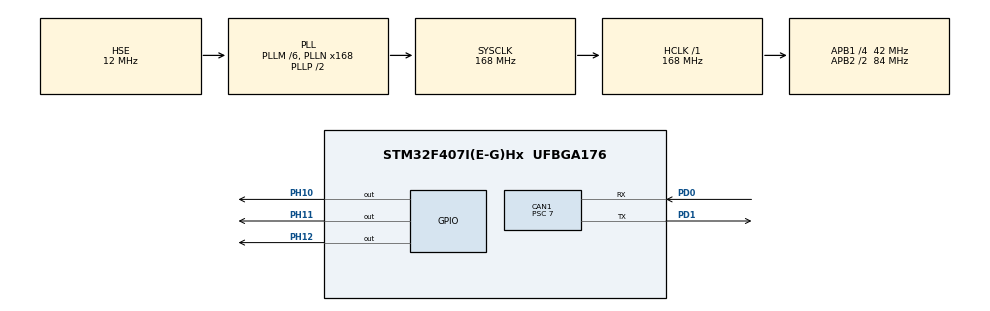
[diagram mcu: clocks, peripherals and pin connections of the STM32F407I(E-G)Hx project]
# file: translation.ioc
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CAN1.BS1=CAN_BS1_3TQ
CAN1.BS2=CAN_BS2_2TQ
CAN1.CalculateBaudRate=1000000
CAN1.CalculateTimeBit=999.99
CAN1.CalculateTimeQuantum=166.66666666666669
CAN1.Prescaler=7
Mcu.Family=STM32F4
Mcu.Name=STM32F407I(E-G)Hx
Mcu.Package=UFBGA176
NVIC.CAN1_RX0_IRQn=true\:0\:0\:false\:false\:true\:true\:true
NVIC.PriorityGroup=NVIC_PRIORITYGROUP_4
PA13.Mode=Serial_Wire
PA13.Signal=SYS_JTMS-SWDIO
PA14.Mode=Serial_Wire
PA14.Signal=SYS_JTCK-SWCLK
PC14-OSC32_IN.Mode=LSE-External-Oscillator
PC14-OSC32_IN.Signal=RCC_OSC32_IN
PC15-OSC32_OUT.Mode=LSE-External-Oscillator
PC15-OSC32_OUT.Signal=RCC_OSC32_OUT
PD0.Mode=CAN_Activate
PD0.Signal=CAN1_RX
PD1.Mode=CAN_Activate
PD1.Signal=CAN1_TX
PH0-OSC_IN.Mode=HSE-External-Oscillator
PH0-OSC_IN.Signal=RCC_OSC_IN
PH1-OSC_OUT.Mode=HSE-External-Oscillator
PH1-OSC_OUT.Signal=RCC_OSC_OUT
PH10.Signal=GPIO_Output
PH11.Signal=GPIO_Output
PH12.Signal=GPIO_Output
ProjectManager.HeapSize=0x200
ProjectManager.StackSize=0x400
ProjectManager.TargetToolchain=MDK-ARM V5.27
RCC.48MHZClocksFreq_Value=84000000
RCC.AHBFreq_Value=168000000
RCC.APB1CLKDivider=RCC_HCLK_DIV4
RCC.APB1Freq_Value=42000000
RCC.APB1TimFreq_Value=84000000
RCC.APB2CLKDivider=RCC_HCLK_DIV2
RCC.APB2Freq_Value=84000000
RCC.APB2TimFreq_Value=168000000
RCC.CortexFreq_Value=168000000
RCC.HCLKFreq_Value=168000000
RCC.HSE_VALUE=12000000
RCC.HSI_VALUE=16000000
RCC.PLLM=6
RCC.PLLN=168
RCC.PLLSourceVirtual=RCC_PLLSOURCE_HSE
RCC.SYSCLKFreq_VALUE=168000000
RCC.SYSCLKSource=RCC_SYSCLKSOURCE_PLLCLK
RCC.VCOOutputFreq_Value=336000000
board=custom

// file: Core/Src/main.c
/* USER CODE BEGIN Header */
/**
  ******************************************************************************
  * @file           : main.c
  * @brief          : Main program body
  ******************************************************************************
  * @attention
  *
  * <h2><center>&copy; Copyright (c) 2023 STMicroelectronics.
  * All rights reserved.</center></h2>
  *
  * This software component is licensed by ST under BSD 3-Clause license,
  * the "License"; You may not use this file except in compliance with the
  * License. You may obtain a copy of the License at:
  *                        opensource.org/licenses/BSD-3-Clause
  *
  ******************************************************************************
  */
/* USER CODE END Header */
#include "main.h"
#include "can.h"
#include "gpio.h"

/* USER CODE BEGIN Includes */
#include "bsp_can.h"
#include "pid.h"
/* USER CODE END Includes */

void SystemClock_Config(void);

/* USER CODE BEGIN 0 */

int16_t led_cnt;
int16_t text_speed = 0;
int16_t target_yaw_speed;
float target_yaw_angle = 1;
float now_yaw_angle;
extern moto_info_t motor_yaw_info;
extern pid_struct_t gimbal_yaw_speed_pid;
extern pid_struct_t gimbal_yaw_angle_pid;

double msp(double x, double in_min, double in_max, double out_min, double out_max)//映射函数，将编码器的值（0~8191）转换为弧度制的角度值（-pi~pi）
{
	return (x-in_min)*(out_max-out_min)/(in_max-in_min)+out_min;
}
/* USER CODE END 0 */

int main(void)
{

  /* MCU Configuration--------------------------------------------------------*/

  /* Reset of all peripherals, Initializes the Flash interface and the Systick. */
  HAL_Init();

  /* Configure the system clock */
  SystemClock_Config();

  /* Initialize all configured peripherals */
  MX_GPIO_Init();
  MX_CAN1_Init();
  /* USER CODE BEGIN 2 */
	can_filter_init();
	gimbal_PID_init();
  /* USER CODE END 2 */

  /* Infinite loop */
  /* USER CODE BEGIN WHILE */
  while (1)
  {
		led_cnt ++;
    if (led_cnt == 250)
    {
      led_cnt = 0;
      HAL_GPIO_TogglePin(GPIOH,GPIO_PIN_11); //blink cycle 500ms
    }

		now_yaw_angle=msp(motor_yaw_info.rotor_angle,0,8191,-pi,pi);//计算当前的编码器角度值，运用msp函数将编码器的值映射为弧度制

		pid_calc(&gimbal_yaw_angle_pid,target_yaw_angle, now_yaw_angle);//角度环
		pid_calc(&gimbal_yaw_speed_pid,gimbal_yaw_angle_pid.output, motor_yaw_info.rotor_speed);//速度环

		Set_Angle(&hcan1,gimbal_yaw_speed_pid.output );//can发送函数，发送经过PID计算的电压值

		HAL_Delay(40);
    /* USER CODE END WHILE */

  }
}

void SystemClock_Config(void)
{
  RCC_OscInitTypeDef RCC_OscInitStruct = {0};
  RCC_ClkInitTypeDef RCC_ClkInitStruct = {0};

  /** Configure the main internal regulator output voltage
  */
  __HAL_RCC_PWR_CLK_ENABLE();
  __HAL_PWR_VOLTAGESCALING_CONFIG(PWR_REGULATOR_VOLTAGE_SCALE1);
  /** Initializes the RCC Oscillators according to the specified parameters
  * in the RCC_OscInitTypeDef structure.
  */
  RCC_OscInitStruct.OscillatorType = RCC_OSCILLATORTYPE_HSE;
  RCC_OscInitStruct.HSEState = RCC_HSE_ON;
  RCC_OscInitStruct.PLL.PLLState = RCC_PLL_ON;
  RCC_OscInitStruct.PLL.PLLSource = RCC_PLLSOURCE_HSE;
  RCC_OscInitStruct.PLL.PLLM = 6;
  RCC_OscInitStruct.PLL.PLLN = 168;
  RCC_OscInitStruct.PLL.PLLP = RCC_PLLP_DIV2;
  RCC_OscInitStruct.PLL.PLLQ = 4;
  if (HAL_RCC_OscConfig(&RCC_OscInitStruct) != HAL_OK)
  {
    Error_Handler();
  }
  /** Initializes the CPU, AHB and APB buses clocks
  */
  RCC_ClkInitStruct.ClockType = RCC_CLOCKTYPE_HCLK|RCC_CLOCKTYPE_SYSCLK
                              |RCC_CLOCKTYPE_PCLK1|RCC_CLOCKTYPE_PCLK2;
  RCC_ClkInitStruct.SYSCLKSource = RCC_SYSCLKSOURCE_PLLCLK;
  RCC_ClkInitStruct.AHBCLKDivider = RCC_SYSCLK_DIV1;
  RCC_ClkInitStruct.APB1CLKDivider = RCC_HCLK_DIV4;
  RCC_ClkInitStruct.APB2CLKDivider = RCC_HCLK_DIV2;

  if (HAL_RCC_ClockConfig(&RCC_ClkInitStruct, FLASH_LATENCY_5) != HAL_OK)
  {
    Error_Handler();
  }
}

void Error_Handler(void)
{
  __disable_irq();
  while (1)
  {
  }
}

/************************ (C) COPYRIGHT STMicroelectronics *****END OF FILE****/
